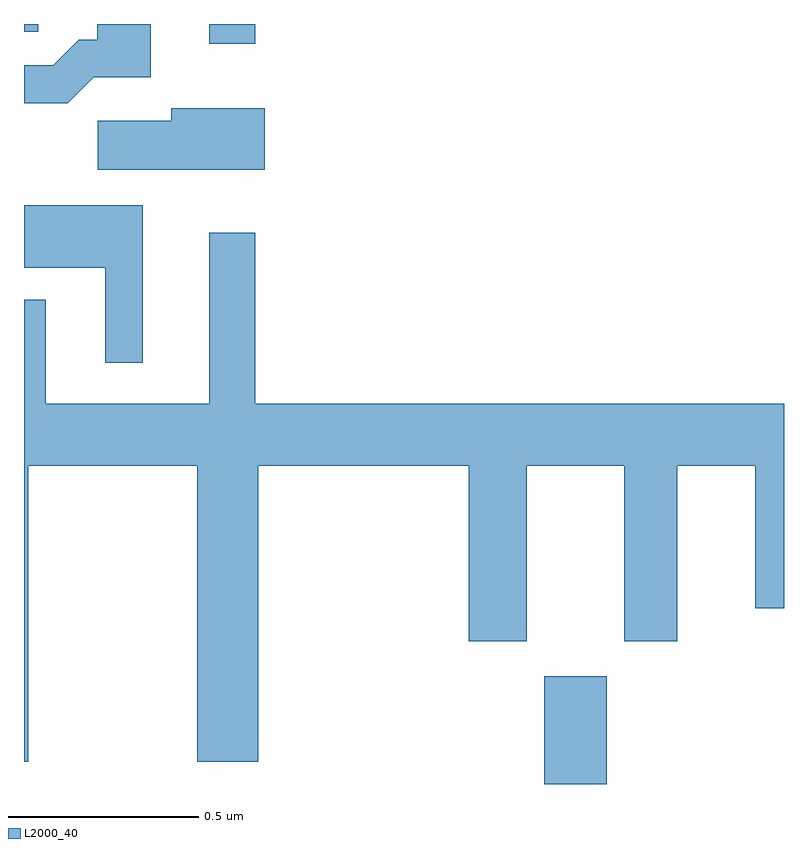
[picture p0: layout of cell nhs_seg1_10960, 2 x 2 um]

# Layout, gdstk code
import gdstk
lib = gdstk.Library(unit=1e-6, precision=1e-09)
def R(c, l, rs):  # rectangles x0, y0, x1, y1
    for r in rs: c.add(gdstk.rectangle(r[:2], r[2:], *l))
def P(c, l, *ps):  # polygons
    for p in ps: c.add(gdstk.Polygon(p, *l))
L2000_40 = (2000, 40)

nhs_seg1_10960 = lib.new_cell('nhs_seg1_10960')
R(nhs_seg1_10960, L2000_40, [(248.369,580.199,248.533,580.483), (247.487,582.147,247.609,582.199), (247,582.178,247.038,582.199)])
P(nhs_seg1_10960, L2000_40, [(247.184,582.059),(247.333,582.059),(247.333,582.199),(247.193,582.199),(247.193,582.157),(247.144,582.157),(247.077,582.09),(247,582.09),(247,581.99),(247.115,581.99)],
  [(247.633,581.977),(247.388,581.977),(247.388,581.945),(247.194,581.945),(247.194,581.816),(247.633,581.816)],
  [(247.312,581.722),(247,581.722),(247,581.558),(247.214,581.558),(247.214,581.307),(247.312,581.307)],
  [(247.011,581.036),(247.456,581.036),(247.456,580.257),(247.616,580.257),(247.616,581.036),(248.171,581.036),(248.171,580.575),(248.323,580.575),(248.323,581.036),(248.579,581.036),(248.579,580.575),(248.719,580.575),(248.719,581.036),(248.924,581.036),(248.924,580.662),(249,580.662),(249,581.2),(247.609,581.2),(247.609,581.65),(247.487,581.65),(247.487,581.2),(247.057,581.2),(247.057,581.473),(247,581.473),(247,580.257),(247.011,580.257)])

lib.write_gds('nhs_seg1_10960.gds')
